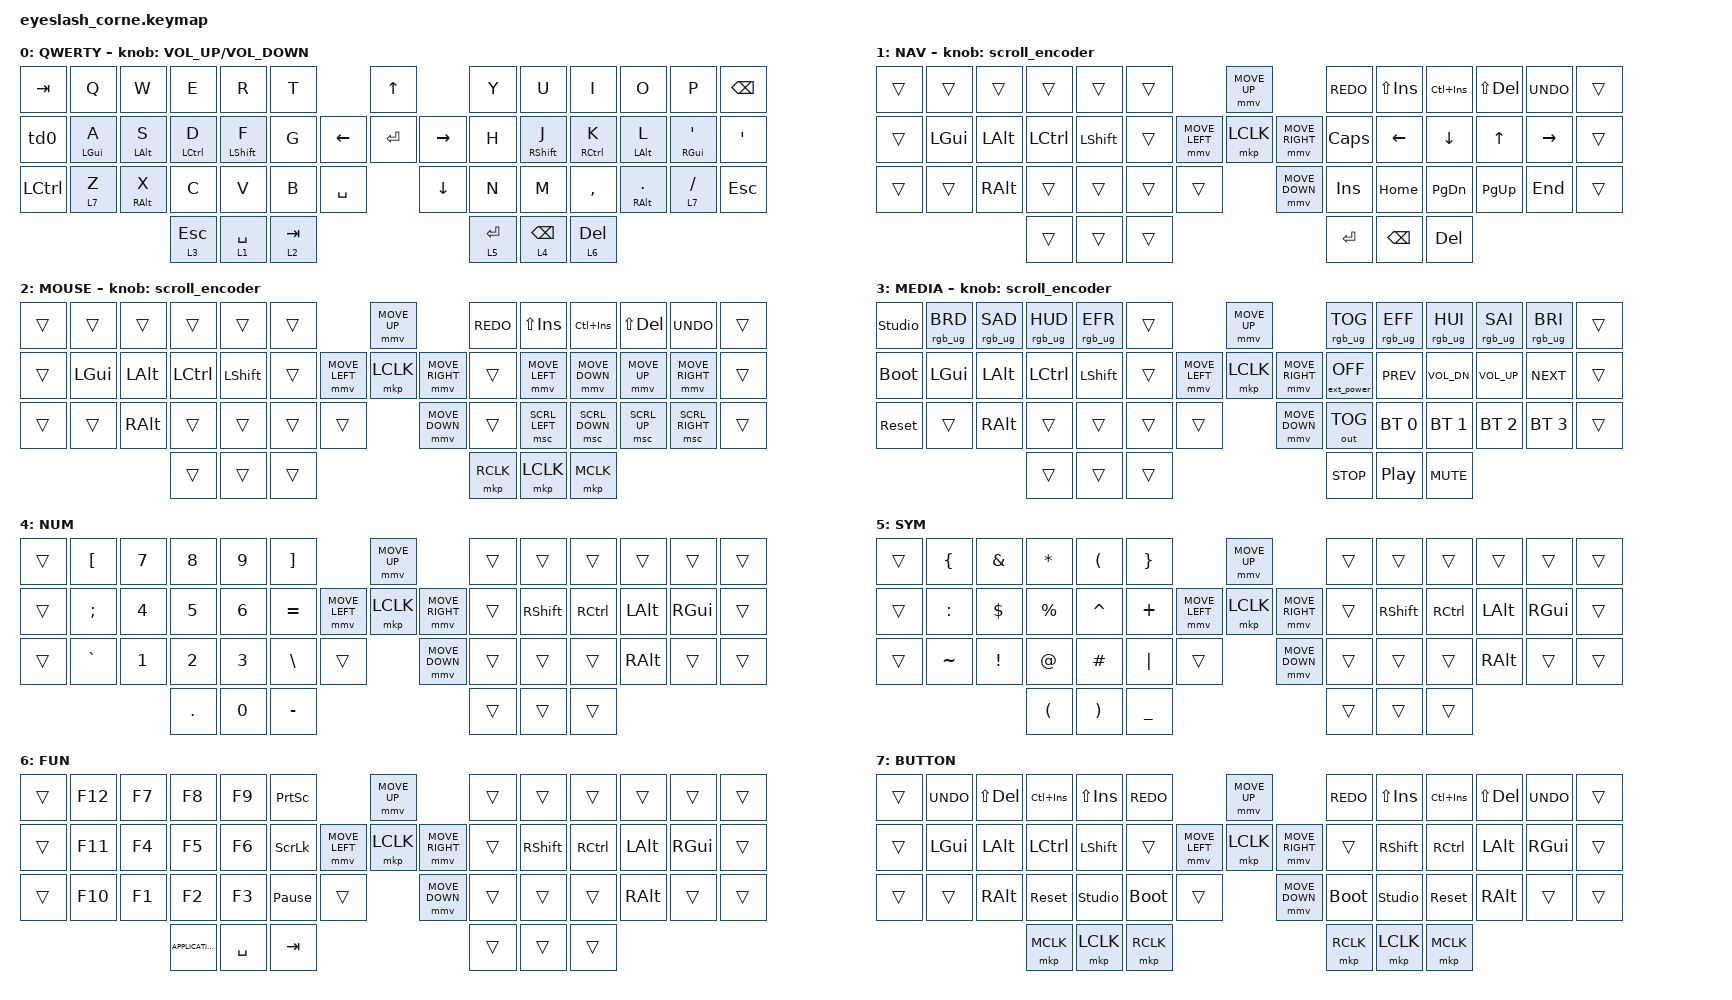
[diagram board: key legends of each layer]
#define ZMK_POINTING_DEFAULT_MOVE_VAL 1200  // 600
#define ZMK_POINTING_DEFAULT_SCRL_VAL 25   // 10

#include <input/processors.dtsi>
#include <zephyr/dt-bindings/input/input-event-codes.h>
#include <behaviors.dtsi>
#include <dt-bindings/zmk/bt.h>
#include <dt-bindings/zmk/ext_power.h>
#include <dt-bindings/zmk/keys.h>
#include <dt-bindings/zmk/outputs.h>
#include <dt-bindings/zmk/pointing.h>
#include <dt-bindings/zmk/rgb.h>

&mmv_input_listener { input-processors = <&zip_xy_scaler 2 1>; };

&msc_input_listener { input-processors = <&zip_scroll_scaler 2 1>; };

&msc {
    acceleration-exponent = <1>;      // 0
    time-to-max-speed-ms = <100>;       // 300
    delay-ms = <0>;                   // 0
};

&mmv {
    time-to-max-speed-ms = <500>;
    acceleration-exponent = <1>;
    trigger-period-ms = <16>;
};

/ {
    behaviors {
        td0: td0 {
            compatible = "zmk,behavior-tap-dance";
            display-name = "Shift/Caps Lock Tap Dance";
            #binding-cells = <0>;
            bindings = <&kp LEFT_SHIFT>, <&kp CAPS>;
        };
    };

    rgb_encoder: rgb_encoder {
        compatible = "zmk,behavior-sensor-rotate";
        #sensor-binding-cells = <0>;
        bindings = <&rgb_ug RGB_BRI>, <&rgb_ug RGB_BRD>;
    };

    scroll_encoder: scroll_encoder {
        compatible = "zmk,behavior-sensor-rotate";
        #sensor-binding-cells = <0>;
        bindings = <&msc SCRL_DOWN>, <&msc SCRL_UP>;

        tap-ms = <100>;
    };

    keymap {
        compatible = "zmk,keymap";

        base {
            display-name = "QWERTY";
            bindings = <
&kp TAB    &kp Q       &kp W       &kp E        &kp R         &kp T                             &kp UP                &kp Y        &kp U            &kp I        &kp O         &kp P                  &kp BSPC
&td0       &mt LGUI A  &mt LALT S  &mt LCTRL D  &mt LSHIFT F  &kp G                   &kp LEFT  &kp ENTER  &kp RIGHT  &kp H        &mt RSHIFT J     &mt RCTRL K  &mt LALT L    &mt RGUI SINGLE_QUOTE  &kp SQT
&kp LCTRL  &lt 7 Z     &mt RALT X  &kp C        &kp V         &kp B      &kp SPACE              &kp DOWN              &kp N        &kp M            &kp COMMA    &mt RALT DOT  &lt 7 SLASH            &kp ESC
                                   &lt 3 ESC    &lt 1 SPACE   &lt 2 TAB                                               &lt 5 ENTER  &lt 4 BACKSPACE  &lt 6 DEL
            >;

            sensor-bindings = <&inc_dec_kp C_VOLUME_UP C_VOLUME_DOWN>;
        };

        nav {
            display-name = "NAV";
            bindings = <
&trans  &trans    &trans    &trans     &trans      &trans                            &mmv MOVE_UP                     &kp K_REDO    &kp LS(INS)     &kp LC(INS)     &kp LS(DELETE)  &kp K_UNDO  &trans
&trans  &kp LGUI  &kp LALT  &kp LCTRL  &kp LSHIFT  &trans            &mmv MOVE_LEFT  &mkp LCLK       &mmv MOVE_RIGHT  &kp CAPSLOCK  &kp LEFT_ARROW  &kp DOWN_ARROW  &kp UP_ARROW    &kp RIGHT   &trans
&trans  &trans    &kp RALT  &trans     &trans      &trans  &trans                    &mmv MOVE_DOWN                   &kp INSERT    &kp HOME        &kp PAGE_DOWN   &kp PAGE_UP     &kp END     &trans
                            &trans     &trans      &trans                                                             &kp ENTER     &kp BACKSPACE   &kp DELETE
            >;

            sensor-bindings = <&scroll_encoder>;
        };

        mouse {
            display-name = "MOUSE";
            bindings = <
&trans  &trans    &trans    &trans     &trans      &trans                            &mmv MOVE_UP                     &kp K_REDO  &kp LS(INS)     &kp LC(INS)     &kp LS(DELETE)  &kp K_UNDO       &trans
&trans  &kp LGUI  &kp LALT  &kp LCTRL  &kp LSHIFT  &trans            &mmv MOVE_LEFT  &mkp LCLK       &mmv MOVE_RIGHT  &trans      &mmv MOVE_LEFT  &mmv MOVE_DOWN  &mmv MOVE_UP    &mmv MOVE_RIGHT  &trans
&trans  &trans    &kp RALT  &trans     &trans      &trans  &trans                    &mmv MOVE_DOWN                   &trans      &msc SCRL_LEFT  &msc SCRL_DOWN  &msc SCRL_UP    &msc SCRL_RIGHT  &trans
                            &trans     &trans      &trans                                                             &mkp RCLK   &mkp LCLK       &mkp MCLK
            >;

            sensor-bindings = <&scroll_encoder>;
        };

        media {
            display-name = "MEDIA";
            bindings = <
&studio_unlock  &rgb_ug RGB_BRD  &rgb_ug RGB_SAD  &rgb_ug RGB_HUD  &rgb_ug RGB_EFR  &trans                            &mmv MOVE_UP                     &rgb_ug RGB_TOG    &rgb_ug RGB_EFF   &rgb_ug RGB_HUI  &rgb_ug RGB_SAI  &rgb_ug RGB_BRI  &trans
&bootloader     &kp LGUI         &kp LALT         &kp LCTRL        &kp LSHIFT       &trans            &mmv MOVE_LEFT  &mkp LCLK       &mmv MOVE_RIGHT  &ext_power EP_OFF  &kp C_PREV        &kp C_VOL_DN     &kp C_VOL_UP     &kp C_NEXT       &trans
&sys_reset      &trans           &kp RALT         &trans           &trans           &trans  &trans                    &mmv MOVE_DOWN                   &out OUT_TOG       &bt BT_SEL 0      &bt BT_SEL 1     &bt BT_SEL 2     &bt BT_SEL 3     &trans
                                                  &trans           &trans           &trans                                                             &kp K_STOP         &kp C_PLAY_PAUSE  &kp C_MUTE
            >;

            sensor-bindings = <&scroll_encoder>;
        };

        num {
            bindings = <
&trans  &kp LEFT_BRACKET  &kp NUMBER_7  &kp NUMBER_8  &kp NUMBER_9  &kp RIGHT_BRACKET                            &mmv MOVE_UP                     &trans  &trans     &trans     &trans    &trans    &trans
&trans  &kp SEMI          &kp NUMBER_4  &kp NUMBER_5  &kp NUMBER_6  &kp EQUAL                    &mmv MOVE_LEFT  &mkp LCLK       &mmv MOVE_RIGHT  &trans  &kp RSHFT  &kp RCTRL  &kp LALT  &kp RGUI  &trans
&trans  &kp GRAVE         &kp NUMBER_1  &kp NUMBER_2  &kp NUMBER_3  &kp BACKSLASH      &trans                    &mmv MOVE_DOWN                   &trans  &trans     &trans     &kp RALT  &trans    &trans
                                        &kp DOT       &kp NUMBER_0  &kp MINUS                                                                     &trans  &trans     &trans
            >;

            label = "NUM";
        };

        sym {
            bindings = <
&trans  &kp LEFT_BRACE  &kp AMPERSAND  &kp ASTERISK          &kp LEFT_PARENTHESIS   &kp RIGHT_BRACE                            &mmv MOVE_UP                     &trans  &trans     &trans     &trans    &trans    &trans
&trans  &kp COLON       &kp DOLLAR     &kp PERCENT           &kp CARET              &kp PLUS                   &mmv MOVE_LEFT  &mkp LCLK       &mmv MOVE_RIGHT  &trans  &kp RSHFT  &kp RCTRL  &kp LALT  &kp RGUI  &trans
&trans  &kp TILDE       &kp EXCL       &kp AT                &kp HASH               &kp PIPE         &trans                    &mmv MOVE_DOWN                   &trans  &trans     &trans     &kp RALT  &trans    &trans
                                       &kp LEFT_PARENTHESIS  &kp RIGHT_PARENTHESIS  &kp UNDER                                                                   &trans  &trans     &trans
            >;

            label = "SYM";
        };

        fun {
            bindings = <
&trans  &kp F12  &kp F7  &kp F8             &kp F9     &kp PRINTSCREEN                            &mmv MOVE_UP                     &trans  &trans     &trans     &trans    &trans    &trans
&trans  &kp F11  &kp F4  &kp F5             &kp F6     &kp SCROLLLOCK             &mmv MOVE_LEFT  &mkp LCLK       &mmv MOVE_RIGHT  &trans  &kp RSHFT  &kp RCTRL  &kp LALT  &kp RGUI  &trans
&trans  &kp F10  &kp F1  &kp F2             &kp F3     &kp PAUSE_BREAK  &trans                    &mmv MOVE_DOWN                   &trans  &trans     &trans     &kp RALT  &trans    &trans
                         &kp K_APPLICATION  &kp SPACE  &kp TAB                                                                     &trans  &trans     &trans
            >;

            label = "FUN";
        };

        button {
            bindings = <
&trans  &kp K_UNDO  &kp LS(DEL)  &kp LC(INS)  &kp LS(INS)     &kp K_REDO                             &mmv MOVE_UP                     &kp K_REDO   &kp LS(INS)     &kp LC(INS)  &kp LS(DEL)  &kp K_UNDO  &trans
&trans  &kp LGUI    &kp LALT     &kp LCTRL    &kp LSHFT       &trans                 &mmv MOVE_LEFT  &mkp LCLK       &mmv MOVE_RIGHT  &trans       &kp RSHFT       &kp RCTRL    &kp LALT     &kp RGUI    &trans
&trans  &trans      &kp RALT     &sys_reset   &studio_unlock  &bootloader  &trans                    &mmv MOVE_DOWN                   &bootloader  &studio_unlock  &sys_reset   &kp RALT     &trans      &trans
                                 &mkp MCLK    &mkp LCLK       &mkp RCLK                                                               &mkp RCLK    &mkp LCLK       &mkp MCLK
            >;

            label = "BUTTON";
        };
    };
};
